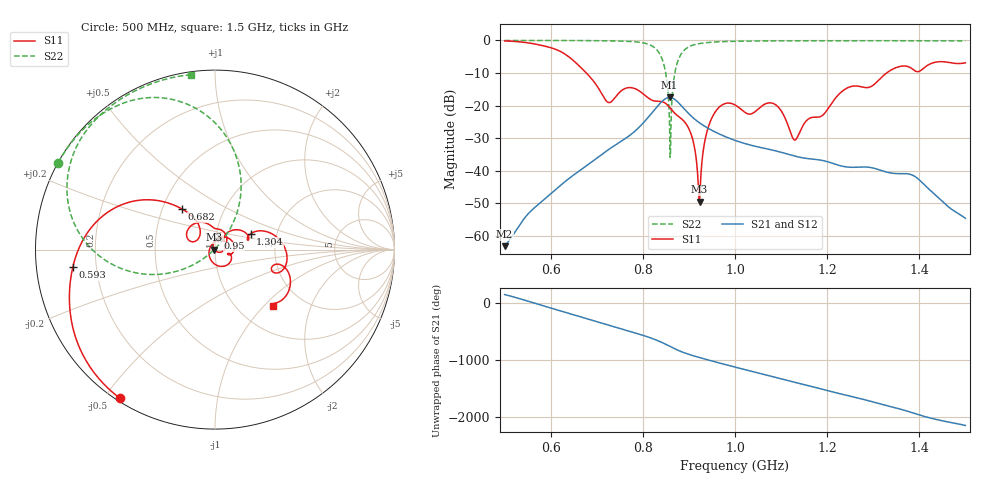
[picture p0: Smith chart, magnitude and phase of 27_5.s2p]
! TOUCHSTONE file generated by CST MICROWAVE STUDIO
! Date and time: Fri Oct  2 19:14:52 2020
! Project name: Scenario_1_Free_Space_out_of_line.cst
! Parameters = {Lambda=346.42; Step_1=17.321; dy1=-103.226; dx1=866; L_HA=400; MT=2.54; Rad_Dielectric=30; Rad_Lower=7.3; Rad_Upper=30; a_HA=580; a_WG=246; b_HA=500; b_WG=121; c_HA=0; c_WG=187; d_feed=85; h_feed=15; h_lower=18; h_upper=40}
! Header version: 2018
! Port assignment regex: !\s*Touchstone port\s*([0-9]+)\s*=\s*(CST MWS port|CST DS port)\s*([0-9]+|Zmin|Zmax)\s*\(\"(.*)\"\)(\s*mode\s*([0-9]+))?.*
! Touchstone port assignment:
! Touchstone port 1 = CST MWS port 1 ("")
! Touchstone port 2 = CST MWS port 2 ("")
# GHz S DB R 50
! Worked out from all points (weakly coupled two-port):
!   1003 points, 500 MHz to 1.5 GHz, reference 50 ohm
!   highest |S21| = -17.52 dB at 858 MHz (marker M1); lowest = -63.2 dB at 500 MHz (marker M2)
!   lowest |S11| = -49.5 dB at 923 MHz (marker M3), VSWR 1.01, Z = 49.7 - j0.113 ohm
!   |S11| at or under -10 dB: 677.3 MHz to 1.329 GHz (651.7 MHz wide, 65 % of centre)
!   |S22| runs from -35.9 to 0.0 dB; largest |S21 - S12| = 3.9e-05
!   S11 on the Smith chart (normalised r, x): 500 MHz: 0.01, -0.55; 593 MHz: 0.11, -0.06; 682 MHz: 0.63, +0.31; 950 MHz: 1.02, +0.13; 1.304 GHz: 1.47, +0.27; 1.5 GHz: 1.43, -1.14
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0.5  -0.15 -122.7  -63.22 143.2  -63.22 143.2  -0.01 151.1
0.593  -1.95 -172.9  -48.00 -76.5  -48.01 -76.4  -0.02 144.6
0.667  -8.53 135.7  -39.60 106.5  -39.60 106.5  -0.04 138.3
0.682  -10.70 129.1  -38.07 71.1  -38.07 71.1  -0.05 136.8
0.725  -19.06 142.6  -33.59 -32.3  -33.59 -32.3  -0.12 131.5
0.771  -14.48 139.2  -29.24 -142.8  -29.24 -142.8  -0.30 122.9
0.834  -18.69 82.7  -19.84 47.9  -19.84 47.9  -3.55 86.7
0.849  -19.30 60.5  -17.92 -8.0  -17.92 -8.0  -9.53 64.7
0.858  -20.53 45.9  -17.52 -44.6  -17.52 -44.6  -26.15 50.8
0.879  -23.54 21.9  -19.37 -125.2  -19.37 -125.2  -5.29 -169.4
0.906  -29.37 -25.6  -23.37 156.9  -23.37 156.9  -1.57 165.4
0.923  -49.54 -160.0  -25.33 116.2  -25.33 116.2  -0.96 157.1
0.935  -30.56 109.2  -26.45 88.9  -26.45 88.9  -0.73 153.0
0.95  -23.76 76.6  -27.64 55.6  -27.64 55.6  -0.55 149.1
1  -19.82 -7.9  -30.71 -51.2  -30.71 -51.2  -0.26 140.2
1.086  -19.58 -61.6  -33.86 130.1  -33.86 130.1  -0.13 130.9
1.129  -30.60 161.1  -35.53 41.6  -35.53 41.6  -0.11 127.2
1.167  -23.66 47.6  -36.45 -33.6  -36.45 -33.6  -0.10 124.1
1.304  -13.27 23.9  -39.36 44.4  -39.36 44.4  -0.09 113.7
1.334  -9.50 14.5  -40.62 -18.4  -40.62 -18.4  -0.09 111.4
1.389  -9.19 -21.1  -41.68 -145.3  -41.68 -145.3  -0.10 107.1
1.5  -6.88 -44.1  -54.66 3.3  -54.66 3.3  -0.14 97.9
